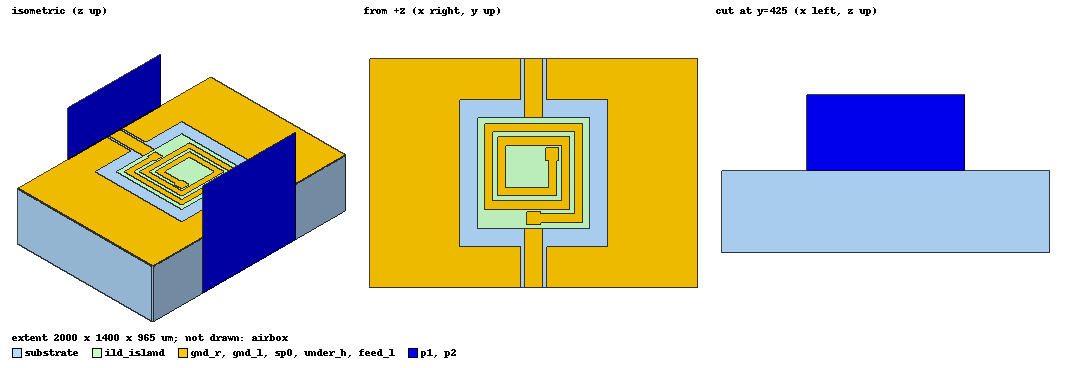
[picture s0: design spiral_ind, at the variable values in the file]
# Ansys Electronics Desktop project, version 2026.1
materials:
  vacuum: permittivity=1
  glass_sub: permittivity=5.3 dielectric_loss_tangent=0.005
  ild: permittivity=9 dielectric_loss_tangent=0.01
  ehd_ag: conductivity=9000000

design spiral_ind (HFSS, HFSS Hybrid Modal Network, model units um)
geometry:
  substrate [glass_sub] = box(corner=(-1000um, 0um, -500um), size=(2000um, 1400um, 500um))
  ild_island [ild] = box(corner=(-340um, 360um, 0um), size=(680um, 680um, 0.1um))
  sp0 = rectangle(corner=(-25um, 400um, 0.1um), x_size=325um, y_size=50um)
  sp1 = rectangle(corner=(250um, 400um, 0.1um), x_size=50um, y_size=600um)
  sp2 = rectangle(corner=(-300um, 950um, 0.1um), x_size=600um, y_size=50um)
  sp3 = rectangle(corner=(-300um, 480um, 0.1um), x_size=50um, y_size=520um)
  sp4 = rectangle(corner=(-300um, 480um, 0.1um), x_size=520um, y_size=50um)
  sp5 = rectangle(corner=(170um, 480um, 0.1um), x_size=50um, y_size=440um)
  sp6 = rectangle(corner=(-220um, 870um, 0.1um), x_size=440um, y_size=50um)
  sp7 = rectangle(corner=(-220um, 560um, 0.1um), x_size=50um, y_size=360um)
  sp8 = rectangle(corner=(-220um, 560um, 0.1um), x_size=360um, y_size=50um)
  sp9 = rectangle(corner=(90um, 560um, 0.1um), x_size=50um, y_size=280um)
  padt1 = rectangle(corner=(-40um, 385um, 0.1um), x_size=80um, y_size=80um)
  padt2 = rectangle(corner=(75um, 775um, 0.1um), x_size=80um, y_size=80um)
  sp0.unite(sp1..sp9, padt1, padt2)
  via1 [ehd_ag] = cylinder(axis=Z, base_centre=(0um, 425um, 0um), radius=30um, height=0.1um)
  via2 [ehd_ag] = cylinder(axis=Z, base_centre=(115um, 815um, 0um), radius=30um, height=0.1um)
  via1_1 = via1.copy()
  via2_1 = via2.copy()
  ild_island.subtract(via1_1, via2_1)
  feed_l = rectangle(corner=(-57.5um, 0um, 0um), x_size=115um, y_size=425um)
  padb1 = rectangle(corner=(-40um, 385um, 0um), x_size=80um, y_size=80um)
  feed_l.unite(padb1)
  under_h = rectangle(corner=(-10um, 805um, 0um), x_size=135um, y_size=20um)
  under_v = rectangle(corner=(-10um, 815um, 0um), x_size=20um, y_size=185um)
  padb2 = rectangle(corner=(75um, 775um, 0um), x_size=80um, y_size=80um)
  feed_r = rectangle(corner=(-57.5um, 1000um, 0um), x_size=115um, y_size=400um)
  under_h.unite(under_v, padb2, feed_r)
  gnd_l = rectangle(corner=(-1000um, 0um, 0um), x_size=922.5um, y_size=1400um)
  cut_l = rectangle(corner=(-450um, 250um, 0um), x_size=372.5um, y_size=900um)
  gnd_l.subtract(cut_l)
  gnd_r = rectangle(corner=(77.5um, 0um, 0um), x_size=922.5um, y_size=1400um)
  cut_r = rectangle(corner=(77.5um, 250um, 0um), x_size=372.5um, y_size=900um)
  gnd_r.subtract(cut_r)
  airbox [vacuum] = box(corner=(-2000um, 0um, -1500um), size=(4000um, 1400um, 2500um))
  p1 = rectangle(corner=(-482.5um, 0um, -500um), z_size=965um, x_size=965um)
  p2 = rectangle(corner=(-482.5um, 1400um, -500um), z_size=965um, x_size=965um)
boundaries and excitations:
  EHD_Ag_sheet: Impedance Objects=[sp0, feed_l, under_h, gnd_l, gnd_r] Resistance=0.44 Reactance=0
  Rad1: Radiation Objects=airbox
  1: Wave Port Objects=p1 WavePortType=Default NumModes=1 DeembedDist=250um Modes{Mode1{IntLine{(77.5, 0, 0) -> (57.5, 0, 0)} CharImp=Zpi RenormImp=50ohm}}
  2: Wave Port Objects=p2 WavePortType=Default NumModes=1 DeembedDist=250um Modes{Mode1{IntLine{(77.5, 1400, 0) -> (57.5, 1400, 0)} CharImp=Zpi RenormImp=50ohm}}
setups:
  Setup1: HfssDriven Frequency=5GHz MaxDeltaS=0.01 MaximumPasses=20 MinimumPasses=3 MinimumConvergedPasses=2 PercentRefinement=30 BasisOrder=1 PortAccuracy=2 DrivenSolverType="Direct Solver"
    sweep Sweep: 0.1GHz to 20GHz, 400 points; Type=Interpolating InterpTolerance=0.5 InterpMaxSolns=250 InterpUsePortImped=false PassivityErrorTolerance=0.0001
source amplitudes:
  1:1: 1W 0deg
  2:1: 0W 0deg
